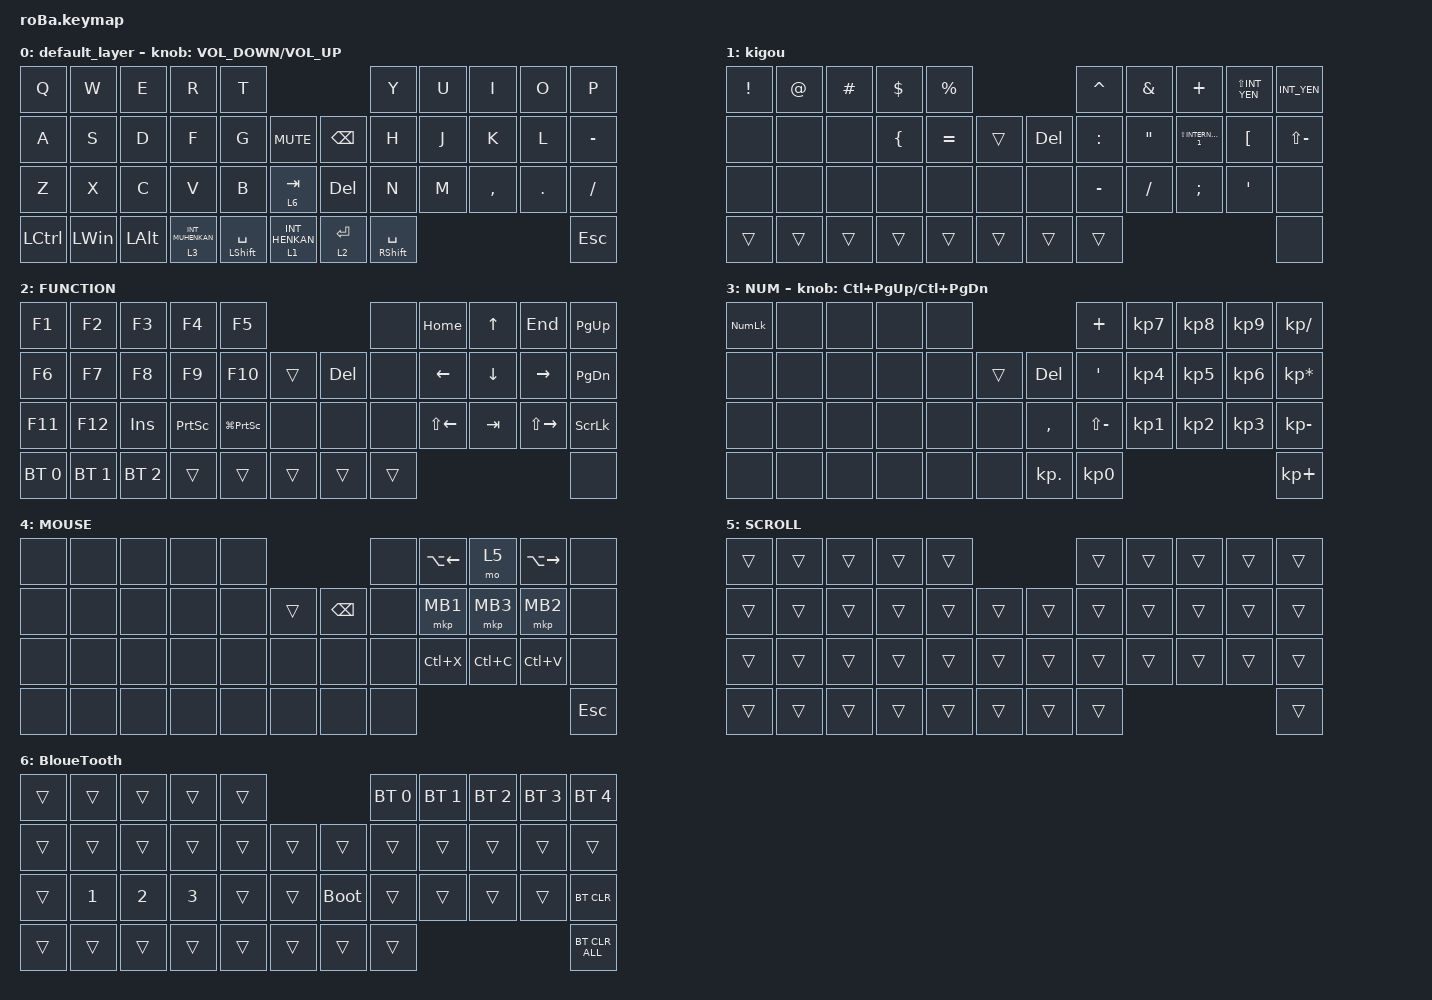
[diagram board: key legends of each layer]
#include <input/processors.dtsi>
#include <behaviors.dtsi>
#include <dt-bindings/zmk/bt.h>
#include <dt-bindings/zmk/keys.h>
#include <dt-bindings/zmk/pointing.h>

&mkp_input_listener { input-processors = <&zip_temp_layer 4 10000>; };

&mt {
    flavor = "tap-preferred";
    quick-tap-ms = <0>;
    tapping-term-ms = <180>;
};

&trackball {
    //    automouse-layer = <4>;

    scroll-layers = <5>;

    // arrows {
    //     layers = <3>;
    //     bindings =
    //         <&kp RIGHT_ARROW>,
    //         <&kp LEFT_ARROW>,
    //         <&kp UP_ARROW>,
    //         <&kp DOWN_ARROW>;
    //     tick = <10>;
    //     wait-ms = <5>;
    //     tap-ms = <5>;
    // };
};

/ {
    combos {
        compatible = "zmk,combos";

        hidari_kakko {
            bindings = <&kp LS(N8)>;
            key-positions = <3 2>;
        };

        migi_kakko {
            bindings = <&kp LS(N9)>;
            key-positions = <6 7>;
        };

        hidari_daikakko {
            bindings = <&kp RIGHT_BRACKET>;
            key-positions = <13 12>;
        };

        migi_daikakko {
            bindings = <&kp NON_US_HASH>;
            key-positions = <18 19>;
        };

        hidari_tyuukakko {
            bindings = <&kp LS(RIGHT_BRACKET)>;
            key-positions = <25 24>;
        };

        migi_tyuukakko {
            bindings = <&kp LS(NON_US_HASH)>;
            key-positions = <30 31>;
        };
    };

    macros {
        to_layer_0: to_layer_0 {
            compatible = "zmk,behavior-macro-one-param";
            #binding-cells = <1>;
            bindings = <&to 0 &macro_param_1to1 &kp MACRO_PLACEHOLDER>;
            label = "TO_LAYER_0";
        };
    };

    behaviors {
        lt_to_layer_0: lt_to_layer_0 {
            compatible = "zmk,behavior-hold-tap";
            label = "LAYER_TAP_TO_0";
            bindings = <&mo>, <&to_layer_0>;

            #binding-cells = <2>;
            tapping-term-ms = <200>;
        };
    };

    keymap {
        compatible = "zmk,keymap";

        default_layer {
            bindings = <
&kp Q      &kp W         &kp E         &kp R               &kp T                                                      &kp Y                  &kp U  &kp I      &kp O    &kp P
&kp A      &kp S         &kp D         &kp F               &kp G                 &kp C_MUTE            &kp BACKSPACE  &kp H                  &kp J  &kp K      &kp L    &kp MINUS
&kp Z      &kp X         &kp C         &kp V               &kp B                 &lt 6 TAB             &kp DELETE     &kp N                  &kp M  &kp COMMA  &kp DOT  &kp SLASH
&kp LCTRL  &kp LEFT_WIN  &kp LEFT_ALT  &lt 3 INT_MUHENKAN  &mt LEFT_SHIFT SPACE  &lt 1 INT_HENKAN      &lt 2 ENTER    &mt RIGHT_SHIFT SPACE                             &kp ESC
            >;

            sensor-bindings = <&inc_dec_kp C_VOLUME_DOWN C_VOLUME_UP>;
        };

        kigou {
            bindings = <
&kp EXCLAMATION  &kp AT_SIGN  &kp HASH  &kp DOLLAR      &kp PERCENT                       &kp CARET  &kp AMPERSAND      &kp PLUS                 &kp LS(INT_YEN)   &kp INT_YEN
&none            &none        &none     &kp LEFT_BRACE  &kp EQUAL    &trans      &kp DEL  &kp COLON  &kp DOUBLE_QUOTES  &kp LS(INTERNATIONAL_1)  &kp LEFT_BRACKET  &kp LS(MINUS)
&none            &none        &none     &none           &none        &none       &none    &kp MINUS  &kp SLASH          &kp SEMI                 &kp SINGLE_QUOTE  &none
&trans           &trans       &trans    &trans          &trans       &trans      &trans   &trans                                                                   &none
            >;
        };

        FUNCTION {
            bindings = <
&kp F1        &kp F2        &kp F3        &kp F4     &kp F5                              &none   &kp HOME            &kp UP_ARROW    &kp END              &kp PG_UP
&kp F6        &kp F7        &kp F8        &kp F9     &kp F10        &trans      &kp DEL  &none   &kp LEFT_ARROW      &kp DOWN_ARROW  &kp RIGHT_ARROW      &kp PG_DN
&kp F11       &kp F12       &kp INS       &kp PSCRN  &kp LG(PSCRN)  &none       &none    &none   &kp LS(LEFT_ARROW)  &kp TAB         &kp LS(RIGHT_ARROW)  &kp SCROLLLOCK
&bt BT_SEL 0  &bt BT_SEL 1  &bt BT_SEL 2  &trans     &trans         &trans      &trans   &trans                                                           &none
            >;
        };

        NUM {
            bindings = <
&kp KP_NLCK  &none  &none  &none  &none                          &kp PLUS          &kp KP_NUMBER_7  &kp KP_NUMBER_8  &kp KP_NUMBER_9  &kp KP_SLASH
&none        &none  &none  &none  &none  &trans      &kp DELETE  &kp SINGLE_QUOTE  &kp KP_NUMBER_4  &kp KP_NUMBER_5  &kp KP_NUMBER_6  &kp KP_ASTERISK
&none        &none  &none  &none  &none  &none       &kp COMMA   &kp LS(MINUS)     &kp KP_NUMBER_1  &kp KP_NUMBER_2  &kp KP_NUMBER_3  &kp KP_MINUS
&none        &none  &none  &none  &none  &none       &kp KP_DOT  &kp KP_NUMBER_0                                                      &kp KP_PLUS
            >;

            sensor-bindings = <&inc_dec_kp LC(PAGE_UP) LC(PAGE_DOWN)>;
        };

        MOUSE {
            bindings = <
&none  &none  &none  &none  &none                             &none  &kp LA(LEFT)  &mo 5      &kp LA(RIGHT)  &none
&none  &none  &none  &none  &none  &trans      &kp BACKSPACE  &none  &mkp MB1      &mkp MB3   &mkp MB2       &none
&none  &none  &none  &none  &none  &none       &none          &none  &kp LC(X)     &kp LC(C)  &kp LC(V)      &none
&none  &none  &none  &none  &none  &none       &none          &none                                          &kp ESC
            >;
        };

        SCROLL {
            bindings = <
&trans  &trans  &trans  &trans  &trans                      &trans  &trans  &trans  &trans  &trans
&trans  &trans  &trans  &trans  &trans  &trans      &trans  &trans  &trans  &trans  &trans  &trans
&trans  &trans  &trans  &trans  &trans  &trans      &trans  &trans  &trans  &trans  &trans  &trans
&trans  &trans  &trans  &trans  &trans  &trans      &trans  &trans                          &trans
            >;
        };

        BloueTooth {
            bindings = <
&trans  &trans        &trans        &trans        &trans                           &bt BT_SEL 0  &bt BT_SEL 1  &bt BT_SEL 2  &bt BT_SEL 3  &bt BT_SEL 4
&trans  &trans        &trans        &trans        &trans  &trans      &trans       &trans        &trans        &trans        &trans        &trans
&trans  &kp NUMBER_1  &kp NUMBER_2  &kp NUMBER_3  &trans  &trans      &bootloader  &trans        &trans        &trans        &trans        &bt BT_CLR
&trans  &trans        &trans        &trans        &trans  &trans      &trans       &trans                                                  &bt BT_CLR_ALL
            >;
        };
    };
};
